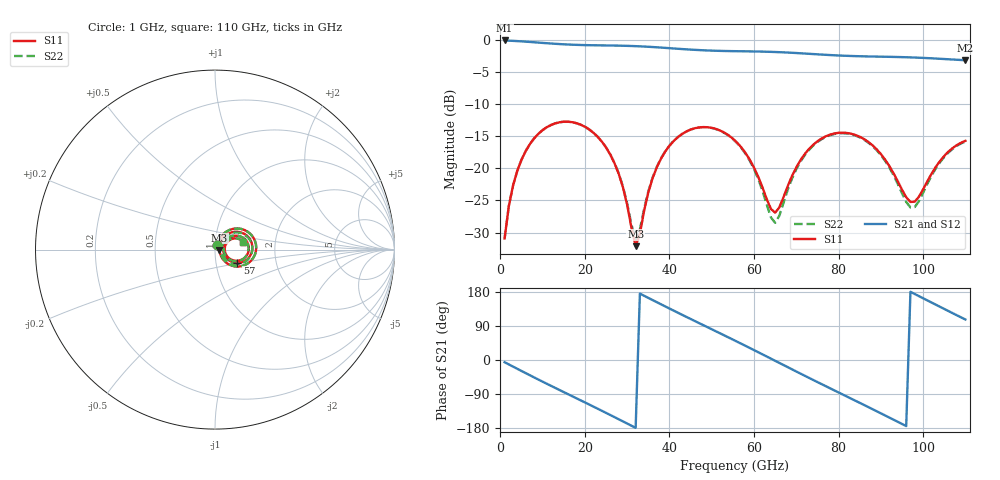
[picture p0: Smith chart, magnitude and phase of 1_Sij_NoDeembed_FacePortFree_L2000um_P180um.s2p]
! Touchstone file exported from HFSS 2024.2.0
!  File:  C:/Users/vaintrug/Documents/Ansoft_Workspace/Comparaison_Calculs_HFSS/1_VarPort.aedt
!  Generated:  03:22:18 PM Jan 21, 2025
!  Design:  1_NoDeembed_FacePortFree
!  Project:  1_VarPort
!  Setup:  Setup1
!  Solution:  Sweep
! Variables:
!  $Lenght = 2000um
!  $PortSize = 180um
!  Gap = 30um
!  Th = 2um
!  X_centralStrip = 20um
!  X_masse = 200um
!  Y_Sub = 2mm
!  Z_Box = 400um
!  Z_Sub = 200um
# GHz S MA R 50.000000
! Terminal data exported
! Port[1] = 1
! Port[2] = 2
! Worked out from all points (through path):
!   110 points, 1 GHz to 110 GHz, reference 50 ohm
!   highest |S21| = -0.13 dB at 1 GHz (marker M1); lowest = -3.2 dB at 110 GHz (marker M2)
!   group delay of S21, straight-line fit = 15.4 ps
!   lowest |S11| = -32.1 dB at 32 GHz (marker M3), VSWR 1.05, Z = 52.5 - j0.16 ohm
!   |S11| at or under -10 dB: start of sweep to end of sweep
!   |S22| runs from -31.1 to -12.8 dB; largest |S21 - S12| = 2.5e-15
!   S11 on the Smith chart (normalised r, x): 1 GHz: 1.03, +0.05; 57 GHz: 1.27, -0.19; 110 GHz: 1.37, +0.12
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1  0.02843 61.8  0.9854 -5.9  0.9854 -5.9  0.02843 61.8
! Gamma 5.94250501048629 50.0223455663939 5.93728230311592 49.8481614747137
! Port Impedance 50 0 50 0
3  0.07346 65.8  0.9781 -17.5  0.9781 -17.5  0.07345 65.8
7  0.1544 48.7  0.9593 -40.4  0.9593 -40.4  0.1543 48.6
13  0.2234 17.8  0.9281 -73.8  0.9281 -73.8  0.2234 17.8
20  0.2101 -17.3  0.9069 -112.0  0.9069 -112.0  0.2101 -17.2
27  0.1094 -47.6  0.8992 -150.8  0.8992 -150.8  0.1098 -46.8
29  0.07087 -51.0  0.8964 -162.1  0.8964 -162.1  0.07173 -49.4
32  0.02476 -3.5  0.8898 -179.1  0.8898 -179.1  0.02772 -3.2
35  0.06493 54.6  0.88 163.9  0.88 163.9  0.0662 51.4
38  0.1188 49.3  0.8674 147.0  0.8674 147.0  0.1194 47.0
43  0.1847 28.6  0.8447 119.2  0.8447 119.2  0.1849 26.6
47  0.2077 10.5  0.8295 97.4  0.8295 97.4  0.2075 8.4
56  0.158 -27.6  0.8128 48.3  0.8128 48.3  0.1568 -30.8
57  0.1451 -31.0  0.812 42.8  0.812 42.8  0.1436 -34.4
65  0.04512 3.5  0.8012 -2.1  0.8012 -2.1  0.03761 2.5
70  0.1016 39.9  0.7867 -30.3  0.7867 -30.3  0.09826 42.4
74  0.1523 29.9  0.7724 -52.7  0.7724 -52.7  0.15 31.0
83  0.1854 -5.3  0.7462 -102.1  0.7462 -102.1  0.1835 -5.8
92  0.1041 -31.7  0.735 -151.9  0.735 -151.9  0.1013 -34.0
98  0.05488 7.9  0.7257 174.3  0.7257 174.3  0.04982 8.7
104  0.1138 31.9  0.7097 140.3  0.7097 140.3  0.1113 33.3
110  0.1633 14.8  0.6917 106.9  0.6917 106.9  0.1613 15.0
